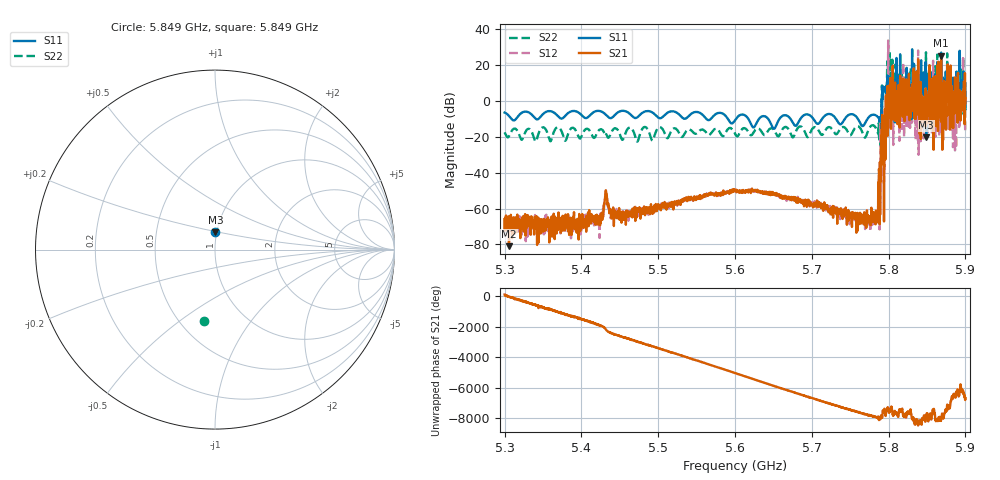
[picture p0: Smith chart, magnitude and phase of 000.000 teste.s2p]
# HZ S DB R 50
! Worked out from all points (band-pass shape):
!   2000 points, 5.3 GHz to 5.9 GHz, reference 50 ohm
!   highest |S21| = 25.12 dB at 5.868 GHz (marker M1); lowest = -81.0 dB at 5.306 GHz (marker M2)
!   |S21| within 3 dB of the highest: 5.838456 GHz to 5.838486 GHz (29.84 kHz wide, 0.000511 % of centre); 5.868459 GHz to 5.868512 GHz (52.42 kHz wide, 0.000893 % of centre)
!   lowest |S11| = -20.4 dB at 5.849 GHz (marker M3), VSWR 1.21, Z = 49.4 + j9.53 ohm
!   |S11| at or under -10 dB: 5.617213 GHz to 5.631408 GHz (14.2 MHz wide, 0.252 % of centre); 5.643001 GHz to 5.658044 GHz (15.04 MHz wide, 0.266 % of centre); 5.672104 GHz to 5.685304 GHz (13.2 MHz wide, 0.232 % of centre) (the widest 3 of 17)
!   |S22| runs from -24.8 to 26.9 dB; largest |S21 - S12| = 48
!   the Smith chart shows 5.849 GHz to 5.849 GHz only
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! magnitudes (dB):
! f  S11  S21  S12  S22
! 5.3 GHz  -6.6  -66.0  -70.7  -17.6
! 5.306 GHz  -8.4  -81.0  -68.4  -19.8
! 5.4 GHz  -8.0  -67.4  -68.4  -19.7
! 5.424 GHz  -5.8  -69.4  -64.7  -15.9
! 5.433 GHz  -8.1  -52.3  -52.8  -18.8
! 5.455 GHz  -5.6  -66.0  -65.2  -20.6
! 5.5 GHz  -9.4  -57.9  -59.4  -15.0
! 5.6 GHz  -10.7  -50.4  -50.1  -18.5
! 5.7 GHz  -9.1  -57.5  -56.5  -16.0
! 5.753 GHz  -7.5  -65.0  -64.6  -17.9
! 5.766 GHz  -14.1  -63.9  -65.8  -17.9
! 5.783 GHz  -8.1  -66.8  -66.3  -15.1
! 5.786 GHz  -9.1  -67.2  -64.4  -18.2
! 5.788 GHz  -11.6  -38.7  -39.4  -21.7
! 5.79 GHz  -9.6  -25.4  -13.9  -21.0
! 5.794 GHz  7.3  -67.2  -45.4  6.0
! 5.8 GHz  -0.1  1.1  -14.6  2.2
! 5.836 GHz  7.4  16.2  -0.5  5.0
! 5.849 GHz  -20.4  5.5  -5.7  -7.8
! 5.868 GHz  26.8  25.1  -9.2  3.4
! 5.887 GHz  5.9  4.6  1.2  -0.1
! 5.9 GHz  5.0  1.5  -1.2  10.4
